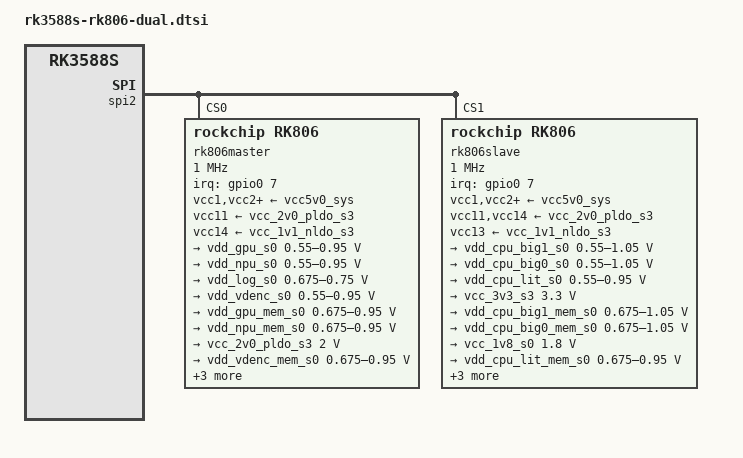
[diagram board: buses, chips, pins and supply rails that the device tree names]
// SPDX-License-Identifier: (GPL-2.0+ OR MIT)
/*
 * Copyright (c) 2021 Rockchip Electronics Co., Ltd.
 *
 */

#include <dt-bindings/gpio/gpio.h>
#include <dt-bindings/pinctrl/rockchip.h>

&spi2 {
	status = "okay";
	assigned-clocks = <&cru CLK_SPI2>;
	assigned-clock-rates = <200000000>;
	num-cs = <2>;

	rk806master: rk806master@0 {
		compatible = "rockchip,rk806";
		spi-max-frequency = <1000000>;
		reg = <0x0>;

		interrupt-parent = <&gpio0>;
		interrupts = <7 IRQ_TYPE_LEVEL_LOW>;

		pinctrl-names = "default", "pmic-power-off";
		pinctrl-0 = <&pmic_pins>, <&rk806_dvs1_null>, <&rk806_dvs2_null>, <&rk806_dvs3_null>;
		pinctrl-1 = <&rk806_dvs1_pwrdn>;

		/* 2800mv-3500mv */
		low_voltage_threshold = <3000>;
		/* 2700mv-3400mv */
		shutdown_voltage_threshold = <2700>;
		/* 140 160 */
		shutdown_temperture_threshold = <160>;
		hotdie_temperture_threshold = <115>;

		/* 0: restart PMU;
		 * 1: reset all the power off reset registers,
		 *    forcing the state to switch to ACTIVE mode;
		 * 2: Reset all the power off reset registers,
		 *    forcing the state to switch to ACTIVE mode,
		 *    and simultaneously pull down the RESETB PIN for 5mS before releasing
		 */
		pmic-reset-func = <1>;

		/* PWRON_ON_TIME: 0:500mS; 1:20mS */
		pwron-on-time-20ms;

		vcc1-supply = <&vcc5v0_sys>;
		vcc2-supply = <&vcc5v0_sys>;
		vcc3-supply = <&vcc5v0_sys>;
		vcc4-supply = <&vcc5v0_sys>;
		vcc5-supply = <&vcc5v0_sys>;
		vcc6-supply = <&vcc5v0_sys>;
		vcc7-supply = <&vcc5v0_sys>;
		vcc8-supply = <&vcc5v0_sys>;
		vcc9-supply = <&vcc5v0_sys>;
		vcc10-supply = <&vcc5v0_sys>;
		vcc11-supply = <&vcc_2v0_pldo_s3>;
		vcc12-supply = <&vcc5v0_sys>;
		vcc13-supply = <&vcc5v0_sys>;
		vcc14-supply = <&vcc_1v1_nldo_s3>;
		vcca-supply = <&vcc5v0_sys>;

		pwrkey {
			status = "okay";
		};

		pinctrl_rk806: pinctrl_rk806 {
			gpio-controller;
			#gpio-cells = <2>;

			rk806_dvs1_null: rk806_dvs1_null {
				pins = "gpio_pwrctrl2";
				function = "pin_fun0";
			};

			rk806_dvs1_slp: rk806_dvs1_slp {
				pins = "gpio_pwrctrl1";
				function = "pin_fun1";
			};

			rk806_dvs1_pwrdn: rk806_dvs1_pwrdn {
				pins = "gpio_pwrctrl1";
				function = "pin_fun2";
			};

			rk806_dvs1_rst: rk806_dvs1_rst {
				pins = "gpio_pwrctrl1";
				function = "pin_fun3";
			};

			rk806_dvs2_null: rk806_dvs2_null {
				pins = "gpio_pwrctrl2";
				function = "pin_fun0";
			};

			rk806_dvs2_slp: rk806_dvs2_slp {
				pins = "gpio_pwrctrl2";
				function = "pin_fun1";
			};

			rk806_dvs2_pwrdn: rk806_dvs2_pwrdn {
				pins = "gpio_pwrctrl2";
				function = "pin_fun2";
			};

			rk806_dvs2_rst: rk806_dvs2_rst {
				pins = "gpio_pwrctrl2";
				function = "pin_fun3";
			};

			rk806_dvs2_dvs: rk806_dvs2_dvs {
				pins = "gpio_pwrctrl2";
				function = "pin_fun4";
			};

			rk806_dvs2_gpio: rk806_dvs2_gpio {
				pins = "gpio_pwrctrl2";
				function = "pin_fun5";
			};

			rk806_dvs3_null: rk806_dvs3_null {
				pins = "gpio_pwrctrl3";
				function = "pin_fun0";
			};

			rk806_dvs3_slp: rk806_dvs3_slp {
				pins = "gpio_pwrctrl3";
				function = "pin_fun1";
			};

			rk806_dvs3_pwrdn: rk806_dvs3_pwrdn {
				pins = "gpio_pwrctrl3";
				function = "pin_fun2";
			};

			rk806_dvs3_rst: rk806_dvs3_rst {
				pins = "gpio_pwrctrl3";
				function = "pin_fun3";
			};

			rk806_dvs3_dvs: rk806_dvs3_dvs {
				pins = "gpio_pwrctrl3";
				function = "pin_fun4";
			};

			rk806_dvs3_gpio: rk806_dvs3_gpio {
				pins = "gpio_pwrctrl3";
				function = "pin_fun5";
			};
		};

		regulators {
			vdd_gpu_s0: DCDC_REG1 {
				regulator-boot-on;
				regulator-min-microvolt = <550000>;
				regulator-max-microvolt = <950000>;
				regulator-ramp-delay = <12500>;
				regulator-enable-ramp-delay = <400>;
				regulator-name = "vdd_gpu_s0";
				regulator-state-mem {
					regulator-off-in-suspend;
				};
			};

			vdd_npu_s0: DCDC_REG2 {
				regulator-always-on;
				regulator-boot-on;
				regulator-min-microvolt = <550000>;
				regulator-max-microvolt = <950000>;
				regulator-ramp-delay = <12500>;
				regulator-name = "vdd_npu_s0";
				regulator-state-mem {
					regulator-off-in-suspend;
				};
			};

			vdd_log_s0: DCDC_REG3 {
				regulator-always-on;
				regulator-boot-on;
				regulator-min-microvolt = <675000>;
				regulator-max-microvolt = <750000>;
				regulator-ramp-delay = <12500>;
				regulator-name = "vdd_log_s0";
				regulator-state-mem {
					regulator-off-in-suspend;
					regulator-suspend-microvolt = <750000>;
				};
			};

			vdd_vdenc_s0: DCDC_REG4 {
				regulator-always-on;
				regulator-boot-on;
				regulator-min-microvolt = <550000>;
				regulator-max-microvolt = <950000>;
				regulator-ramp-delay = <12500>;
				regulator-name = "vdd_vdenc_s0";
				regulator-state-mem {
					regulator-off-in-suspend;
				};
			};

			vdd_gpu_mem_s0: DCDC_REG5 {
				regulator-boot-on;
				regulator-min-microvolt = <675000>;
				regulator-max-microvolt = <950000>;
				regulator-ramp-delay = <12500>;
				regulator-enable-ramp-delay = <400>;
				regulator-name = "vdd_gpu_mem_s0";
				regulator-state-mem {
					regulator-off-in-suspend;
				};
			};

			vdd_npu_mem_s0: DCDC_REG6 {
				regulator-always-on;
				regulator-boot-on;
				regulator-min-microvolt = <675000>;
				regulator-max-microvolt = <950000>;
				regulator-ramp-delay = <12500>;
				regulator-name = "vdd_npu_mem_s0";
				regulator-state-mem {
					regulator-off-in-suspend;
				};
			};

			vcc_2v0_pldo_s3: DCDC_REG7 {
				regulator-always-on;
				regulator-boot-on;
				regulator-min-microvolt = <2000000>;
				regulator-max-microvolt = <2000000>;
				regulator-ramp-delay = <12500>;
				regulator-name = "vdd_2v0_pldo_s3";
				regulator-state-mem {
					regulator-on-in-suspend;
					regulator-suspend-microvolt = <2000000>;
				};
			};

			vdd_vdenc_mem_s0: DCDC_REG8 {
				regulator-always-on;
				regulator-boot-on;
				regulator-min-microvolt = <675000>;
				regulator-max-microvolt = <950000>;
				regulator-ramp-delay = <12500>;
				regulator-name = "vdd_vdenc_mem_s0";
				regulator-state-mem {
					regulator-off-in-suspend;
				};
			};

			vdd2_ddr_s3: DCDC_REG9 {
				regulator-always-on;
				regulator-boot-on;
				regulator-name = "vdd2_ddr_s3";
				regulator-state-mem {
					regulator-on-in-suspend;
				};
			};

			vcc_1v1_nldo_s3: DCDC_REG10 {
				regulator-always-on;
				regulator-boot-on;
				regulator-min-microvolt = <1100000>;
				regulator-max-microvolt = <1100000>;
				regulator-ramp-delay = <12500>;
				regulator-name = "vcc_1v1_nldo_s3";
				regulator-state-mem {
					regulator-on-in-suspend;
					regulator-suspend-microvolt = <1100000>;
				};
			};

			avcc_1v8_s0: PLDO_REG1 {
				regulator-always-on;
				regulator-boot-on;
				regulator-min-microvolt = <1800000>;
				regulator-max-microvolt = <1800000>;
				regulator-ramp-delay = <12500>;
				regulator-name = "avcc_1v8_s0";
				regulator-state-mem {
					regulator-off-in-suspend;
				};
			};

			vdd1_1v8_ddr_s3: PLDO_REG2 {
				regulator-always-on;
				regulator-boot-on;
				regulator-min-microvolt = <1800000>;
				regulator-max-microvolt = <1800000>;
				regulator-ramp-delay = <12500>;
				regulator-name = "vdd1_1v8_ddr_s3";
				regulator-state-mem {
					regulator-on-in-suspend;
					regulator-suspend-microvolt = <1800000>;
				};
			};

			vcc_1v8_s3: PLDO_REG3 {
				regulator-always-on;
				regulator-boot-on;
				regulator-min-microvolt = <1800000>;
				regulator-max-microvolt = <1800000>;
				regulator-ramp-delay = <12500>;
				regulator-name = "vcc_1v8_s3";
				regulator-state-mem {
					regulator-on-in-suspend;
					regulator-suspend-microvolt = <1800000>;
				};
			};

			vcc_3v3_s0: PLDO_REG4 {
				regulator-always-on;
				regulator-boot-on;
				regulator-min-microvolt = <3300000>;
				regulator-max-microvolt = <3300000>;
				regulator-ramp-delay = <12500>;
				regulator-name = "vcc_3v3_s0";
				regulator-state-mem {
					regulator-off-in-suspend;
				};
			};

			vccio_sd_s0: PLDO_REG5 {
				regulator-always-on;
				regulator-boot-on;
				regulator-min-microvolt = <1800000>;
				regulator-max-microvolt = <3300000>;
				regulator-ramp-delay = <12500>;
				regulator-name = "vccio_sd_s0";
				regulator-state-mem {
					regulator-off-in-suspend;
				};
			};

			master_pldo6_s3: PLDO_REG6 {
				regulator-always-on;
				regulator-boot-on;
				regulator-min-microvolt = <1800000>;
				regulator-max-microvolt = <1800000>;
				regulator-name = "master_pldo6_s3";
				regulator-state-mem {
					regulator-on-in-suspend;
					regulator-suspend-microvolt = <1800000>;
				};
			};

			vdd_0v75_s3: NLDO_REG1 {
				regulator-always-on;
				regulator-boot-on;
				regulator-min-microvolt = <750000>;
				regulator-max-microvolt = <750000>;
				regulator-ramp-delay = <12500>;
				regulator-name = "vdd_0v75_s3";
				regulator-state-mem {
					regulator-on-in-suspend;
					regulator-suspend-microvolt = <750000>;
				};
			};

			vdd2l_0v9_ddr_s3: NLDO_REG2 {
				regulator-always-on;
				regulator-boot-on;
				regulator-min-microvolt = <900000>;
				regulator-max-microvolt = <900000>;
				regulator-name = "vdd2l_0v9_ddr_s3";
				regulator-state-mem {
					regulator-on-in-suspend;
					regulator-suspend-microvolt = <900000>;
				};
			};

			master_nldo3: NLDO_REG3 {
				regulator-name = "master_nldo3";
				regulator-state-mem {
					regulator-off-in-suspend;
				};
			};

			avdd_0v75_s0: NLDO_REG4 {
				regulator-always-on;
				regulator-boot-on;
				regulator-min-microvolt = <750000>;
				regulator-max-microvolt = <750000>;
				regulator-name = "avdd_0v75_s0";
				regulator-state-mem {
					regulator-off-in-suspend;
				};
			};

			vdd_0v85_s0: NLDO_REG5 {
				regulator-always-on;
				regulator-boot-on;
				regulator-min-microvolt = <850000>;
				regulator-max-microvolt = <850000>;
				regulator-name = "vdd_0v85_s0";
				regulator-state-mem {
					regulator-off-in-suspend;
				};
			};
		};
	};

	rk806slave: rk806slave@1 {
		compatible = "rockchip,rk806";
		spi-max-frequency = <1000000>;
		reg = <0x01>;

		interrupt-parent = <&gpio0>;
		interrupts = <7 IRQ_TYPE_LEVEL_LOW>;

		pinctrl-names = "default", "pmic-sleep";
		pinctrl-0 = <&rk806_slave_dvs1_null>, <&rk806_slave_dvs2_null>, <&rk806_slave_dvs3_null>;
		pinctrl-1 = <&rk806_slave_dvs1_slp>, <&rk806_slave_dvs2_null>, <&rk806_slave_dvs3_null>;

		/* 0: restart PMU;
		 * 1: reset all the power off reset registers,
		 *    forcing the state to switch to ACTIVE mode;
		 * 2: Reset all the power off reset registers,
		 *    forcing the state to switch to ACTIVE mode,
		 *    and simultaneously pull down the RESETB PIN for 5mS before releasing
		 */
		pmic-reset-func = <1>;

		vcc1-supply = <&vcc5v0_sys>;
		vcc2-supply = <&vcc5v0_sys>;
		vcc3-supply = <&vcc5v0_sys>;
		vcc4-supply = <&vcc5v0_sys>;
		vcc5-supply = <&vcc5v0_sys>;
		vcc6-supply = <&vcc5v0_sys>;
		vcc7-supply = <&vcc5v0_sys>;
		vcc8-supply = <&vcc5v0_sys>;
		vcc9-supply = <&vcc5v0_sys>;
		vcc10-supply = <&vcc5v0_sys>;
		vcc11-supply = <&vcc_2v0_pldo_s3>;
		vcc12-supply = <&vcc5v0_sys>;
		vcc13-supply = <&vcc_1v1_nldo_s3>;
		vcc14-supply = <&vcc_2v0_pldo_s3>;
		vcca-supply = <&vcc5v0_sys>;

		pwrkey {
			status = "disabled";
		};

		pinctrl_slave_rk806: pinctrl_slave_rk806 {
			gpio-controller;
			#gpio-cells = <2>;

			rk806_slave_dvs1_null: rk806_slave_dvs1_null {
				pins = "gpio_pwrctrl2";
				function = "pin_fun0";
			};

			rk806_slave_dvs1_slp: rk806_slave_dvs1_slp {
				pins = "gpio_pwrctrl1";
				function = "pin_fun1";
			};

			rk806_slave_dvs1_pwrdn: rk806_slave_dvs1_pwrdn {
				pins = "gpio_pwrctrl1";
				function = "pin_fun2";
			};

			rk806_slave_dvs1_rst: rk806_slave_dvs1_rst {
				pins = "gpio_pwrctrl1";
				function = "pin_fun3";
			};

			rk806_slave_dvs2_null: rk806_slave_dvs2_null {
				pins = "gpio_pwrctrl2";
				function = "pin_fun0";
			};

			rk806_slave_dvs2_slp: rk806_slave_dvs2_slp {
				pins = "gpio_pwrctrl2";
				function = "pin_fun1";
			};

			rk806_slave_dvs2_pwrdn: rk806_slave_dvs2_pwrdn {
				pins = "gpio_pwrctrl2";
				function = "pin_fun2";
			};

			rk806_slave_dvs2_rst: rk806_slave_dvs2_rst {
				pins = "gpio_pwrctrl2";
				function = "pin_fun3";
			};

			rk806_slave_dvs2_dvs: rk806_slave_dvs2_dvs {
				pins = "gpio_pwrctrl2";
				function = "pin_fun4";
			};

			rk806_slave_dvs2_gpio: rk806_slave_dvs2_gpio {
				pins = "gpio_pwrctrl2";
				function = "pin_fun5";
			};

			rk806_slave_dvs3_null: rk806_slave_dvs3_null {
				pins = "gpio_pwrctrl3";
				function = "pin_fun0";
			};

			rk806_slave_dvs3_slp: rk806_slave_dvs3_slp {
				pins = "gpio_pwrctrl3";
				function = "pin_fun1";
			};

			rk806_slave_dvs3_pwrdn: rk806_slave_dvs3_pwrdn {
				pins = "gpio_pwrctrl3";
				function = "pin_fun2";
			};

			rk806_slave_dvs3_rst: rk806_slave_dvs3_rst {
				pins = "gpio_pwrctrl3";
				function = "pin_fun3";
			};

			rk806_slave_dvs3_dvs: rk806_slave_dvs3_dvs {
				pins = "gpio_pwrctrl3";
				function = "pin_fun4";
			};

			rk806_slave_dvs3_gpio: rk806_slave_dvs3_gpio {
				pins = "gpio_pwrctrl3";
				function = "pin_fun5";
			};
		};

		regulators {
			vdd_cpu_big1_s0: DCDC_REG1 {
				regulator-always-on;
				regulator-boot-on;
				regulator-min-microvolt = <550000>;
				regulator-max-microvolt = <1050000>;
				regulator-ramp-delay = <12500>;
				regulator-name = "vdd_cpu_big1_s0";
				regulator-state-mem {
					regulator-off-in-suspend;
				};
			};

			vdd_cpu_big0_s0: DCDC_REG2 {
				regulator-always-on;
				regulator-boot-on;
				regulator-min-microvolt = <550000>;
				regulator-max-microvolt = <1050000>;
				regulator-ramp-delay = <12500>;
				regulator-name = "vdd_cpu_big0_s0";
				regulator-state-mem {
					regulator-off-in-suspend;
				};
			};

			vdd_cpu_lit_s0: DCDC_REG3 {
				regulator-always-on;
				regulator-boot-on;
				regulator-min-microvolt = <550000>;
				regulator-max-microvolt = <950000>;
				regulator-ramp-delay = <12500>;
				regulator-name = "vdd_cpu_lit_s0";
				regulator-state-mem {
					regulator-off-in-suspend;
				};
			};

			vcc_3v3_s3: DCDC_REG4 {
				regulator-always-on;
				regulator-boot-on;
				regulator-min-microvolt = <3300000>;
				regulator-max-microvolt = <3300000>;
				regulator-ramp-delay = <12500>;
				regulator-name = "vcc_3v3_s3";
				regulator-state-mem {
					regulator-on-in-suspend;
					regulator-suspend-microvolt = <3300000>;
				};
			};

			vdd_cpu_big1_mem_s0: DCDC_REG5 {
				regulator-always-on;
				regulator-boot-on;
				regulator-min-microvolt = <675000>;
				regulator-max-microvolt = <1050000>;
				regulator-ramp-delay = <12500>;
				regulator-name = "vdd_cpu_big1_mem_s0";
				regulator-state-mem {
					regulator-off-in-suspend;
				};
			};


			vdd_cpu_big0_mem_s0: DCDC_REG6 {
				regulator-always-on;
				regulator-boot-on;
				regulator-min-microvolt = <675000>;
				regulator-max-microvolt = <1050000>;
				regulator-ramp-delay = <12500>;
				regulator-name = "vdd_cpu_big0_mem_s0";
				regulator-state-mem {
					regulator-off-in-suspend;
				};
			};

			vcc_1v8_s0: DCDC_REG7 {
				regulator-always-on;
				regulator-boot-on;
				regulator-min-microvolt = <1800000>;
				regulator-max-microvolt = <1800000>;
				regulator-ramp-delay = <12500>;
				regulator-name = "vcc_1v8_s0";
				regulator-state-mem {
					regulator-off-in-suspend;
				};
			};

			vdd_cpu_lit_mem_s0: DCDC_REG8 {
				regulator-always-on;
				regulator-boot-on;
				regulator-min-microvolt = <675000>;
				regulator-max-microvolt = <950000>;
				regulator-ramp-delay = <12500>;
				regulator-name = "vdd_cpu_lit_mem_s0";
				regulator-state-mem {
					regulator-off-in-suspend;
				};
			};

			vddq_ddr_s0: DCDC_REG9 {
				regulator-always-on;
				regulator-boot-on;
				regulator-name = "vddq_ddr_s0";
				regulator-state-mem {
					regulator-off-in-suspend;
				};
			};

			vdd_ddr_s0: DCDC_REG10 {
				regulator-always-on;
				regulator-boot-on;
				regulator-min-microvolt = <675000>;
				regulator-max-microvolt = <900000>;
				regulator-ramp-delay = <12500>;
				regulator-name = "vdd_ddr_s0";
				regulator-state-mem {
					regulator-off-in-suspend;
				};
			};

			vcc_1v8_cam_s0: PLDO_REG1 {
				regulator-always-on;
				regulator-boot-on;
				regulator-min-microvolt = <1800000>;
				regulator-max-microvolt = <1800000>;
				regulator-ramp-delay = <12500>;
				regulator-name = "vcc_1v8_cam_s0";
				regulator-state-mem {
					regulator-off-in-suspend;
				};
			};

			avdd1v8_ddr_pll_s0: PLDO_REG2 {
				regulator-always-on;
				regulator-boot-on;
				regulator-min-microvolt = <1800000>;
				regulator-max-microvolt = <1800000>;
				regulator-ramp-delay = <12500>;
				regulator-name = "avdd1v8_ddr_pll_s0";
				regulator-state-mem {
					regulator-off-in-suspend;
				};
			};

			vdd_1v8_pll_s0: PLDO_REG3 {
				regulator-always-on;
				regulator-boot-on;
				regulator-min-microvolt = <1800000>;
				regulator-max-microvolt = <1800000>;
				regulator-ramp-delay = <12500>;
				regulator-name = "vdd_1v8_pll_s0";
				regulator-state-mem {
					regulator-off-in-suspend;
				};
			};

			vcc_3v3_sd_s0: PLDO_REG4 {
				regulator-always-on;
				regulator-boot-on;
				regulator-min-microvolt = <3300000>;
				regulator-max-microvolt = <3300000>;
				regulator-ramp-delay = <12500>;
				regulator-name = "vcc_3v3_sd_s0";
				regulator-state-mem {
					regulator-off-in-suspend;
				};
			};

			vcc_2v8_cam_s0: PLDO_REG5 {
				regulator-always-on;
				regulator-boot-on;
				regulator-min-microvolt = <2800000>;
				regulator-max-microvolt = <2800000>;
				regulator-ramp-delay = <12500>;
				regulator-name = "vcc_2v8_cam_s0";
				regulator-state-mem {
					regulator-off-in-suspend;
				};
			};

			pldo6_s3: PLDO_REG6 {
				regulator-always-on;
				regulator-boot-on;
				regulator-min-microvolt = <1800000>;
				regulator-max-microvolt = <1800000>;
				regulator-name = "pldo6_s3";
				regulator-state-mem {
					regulator-on-in-suspend;
					regulator-suspend-microvolt = <1800000>;
				};
			};

			vdd_0v75_pll_s0: NLDO_REG1 {
				regulator-always-on;
				regulator-boot-on;
				regulator-min-microvolt = <750000>;
				regulator-max-microvolt = <750000>;
				regulator-ramp-delay = <12500>;
				regulator-name = "vdd_0v75_pll_s0";
				regulator-state-mem {
					regulator-off-in-suspend;
				};
			};

			vdd_ddr_pll_s0: NLDO_REG2 {
				regulator-always-on;
				regulator-boot-on;
				regulator-min-microvolt = <850000>;
				regulator-max-microvolt = <850000>;
				regulator-name = "vdd_ddr_pll_s0";
				regulator-state-mem {
					regulator-off-in-suspend;
				};
			};

			slave_nldo3: NLDO_REG3 {
				regulator-name = "slave_nldo3";
				regulator-state-mem {
					regulator-off-in-suspend;
				};
			};

			avdd_1v2_cam_s0: NLDO_REG4 {
				regulator-always-on;
				regulator-boot-on;
				regulator-min-microvolt = <1200000>;
				regulator-max-microvolt = <1200000>;
				regulator-ramp-delay = <12500>;
				regulator-name = "avdd_1v2_cam_s0";
				regulator-state-mem {
					regulator-off-in-suspend;
				};
			};

			avdd_1v2_s0: NLDO_REG5 {
				regulator-always-on;
				regulator-boot-on;
				regulator-min-microvolt = <1200000>;
				regulator-max-microvolt = <1200000>;
				regulator-ramp-delay = <12500>;
				regulator-name = "avdd_1v2_s0";
				regulator-state-mem {
					regulator-off-in-suspend;
				};
			};
		};
	};
};
